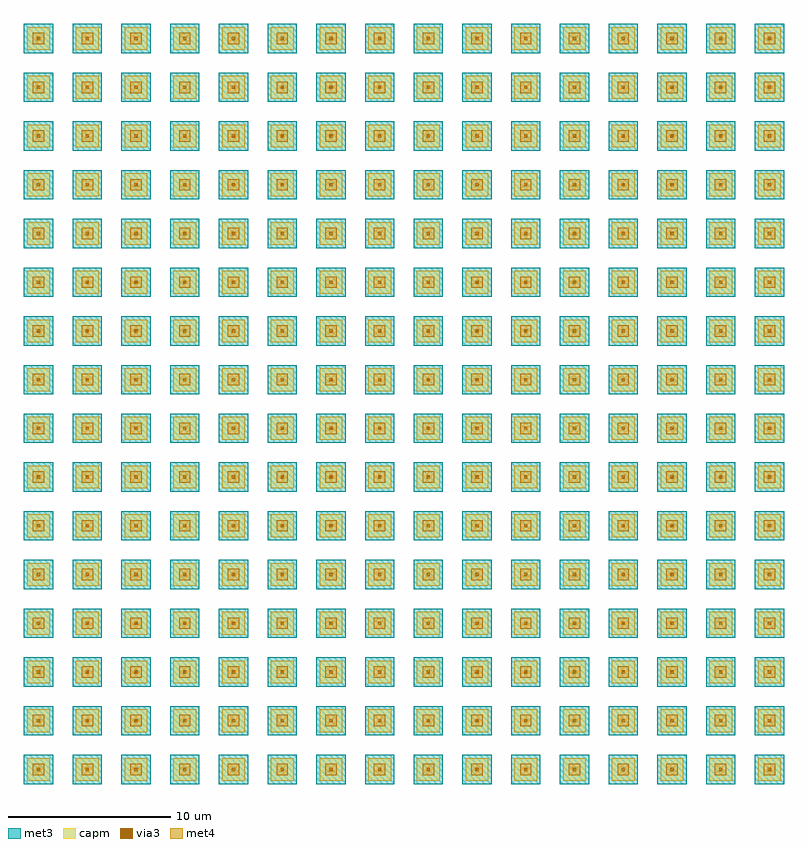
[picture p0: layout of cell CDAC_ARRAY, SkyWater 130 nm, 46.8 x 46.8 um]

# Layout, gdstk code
import gdstk
lib = gdstk.Library(unit=1e-6, precision=1e-09)
def R(c, l, rs):  # rectangles x0, y0, x1, y1
    for r in rs: c.add(gdstk.rectangle(r[:2], r[2:], *l))
met3 = (70, 20)
via3 = (70, 44)
met4 = (71, 20)
capm = (89, 44)

cdac_unit = lib.new_cell('CDAC_UNIT')
R(cdac_unit, met3, [(-0.9,-0.9,0.9,0.9)])
R(cdac_unit, via3, [(-0.1,-0.1,0.1,0.1)])
R(cdac_unit, met4, [(-0.35,-0.35,0.35,0.35)])
R(cdac_unit, capm, [(-0.7,-0.7,0.7,0.7)])

cdac_array = lib.new_cell('CDAC_ARRAY')
cdac_array.add(gdstk.Reference(cdac_unit, (0,0)))
cdac_array.add(gdstk.Reference(cdac_unit, (3,0)))
cdac_array.add(gdstk.Reference(cdac_unit, (6,0)))
cdac_array.add(gdstk.Reference(cdac_unit, (9,0)))
cdac_array.add(gdstk.Reference(cdac_unit, (12,0)))
cdac_array.add(gdstk.Reference(cdac_unit, (15,0)))
cdac_array.add(gdstk.Reference(cdac_unit, (18,0)))
cdac_array.add(gdstk.Reference(cdac_unit, (21,0)))
cdac_array.add(gdstk.Reference(cdac_unit, (24,0)))
cdac_array.add(gdstk.Reference(cdac_unit, (27,0)))
cdac_array.add(gdstk.Reference(cdac_unit, (30,0)))
cdac_array.add(gdstk.Reference(cdac_unit, (33,0)))
cdac_array.add(gdstk.Reference(cdac_unit, (36,0)))
cdac_array.add(gdstk.Reference(cdac_unit, (39,0)))
cdac_array.add(gdstk.Reference(cdac_unit, (42,0)))
cdac_array.add(gdstk.Reference(cdac_unit, (45,0)))
cdac_array.add(gdstk.Reference(cdac_unit, (0,3)))
cdac_array.add(gdstk.Reference(cdac_unit, (3,3)))
cdac_array.add(gdstk.Reference(cdac_unit, (6,3)))
cdac_array.add(gdstk.Reference(cdac_unit, (9,3)))
cdac_array.add(gdstk.Reference(cdac_unit, (12,3)))
cdac_array.add(gdstk.Reference(cdac_unit, (15,3)))
cdac_array.add(gdstk.Reference(cdac_unit, (18,3)))
cdac_array.add(gdstk.Reference(cdac_unit, (21,3)))
cdac_array.add(gdstk.Reference(cdac_unit, (24,3)))
cdac_array.add(gdstk.Reference(cdac_unit, (27,3)))
cdac_array.add(gdstk.Reference(cdac_unit, (30,3)))
cdac_array.add(gdstk.Reference(cdac_unit, (33,3)))
cdac_array.add(gdstk.Reference(cdac_unit, (36,3)))
cdac_array.add(gdstk.Reference(cdac_unit, (39,3)))
cdac_array.add(gdstk.Reference(cdac_unit, (42,3)))
cdac_array.add(gdstk.Reference(cdac_unit, (45,3)))
cdac_array.add(gdstk.Reference(cdac_unit, (0,6)))
cdac_array.add(gdstk.Reference(cdac_unit, (3,6)))
cdac_array.add(gdstk.Reference(cdac_unit, (6,6)))
cdac_array.add(gdstk.Reference(cdac_unit, (9,6)))
cdac_array.add(gdstk.Reference(cdac_unit, (12,6)))
cdac_array.add(gdstk.Reference(cdac_unit, (15,6)))
cdac_array.add(gdstk.Reference(cdac_unit, (18,6)))
cdac_array.add(gdstk.Reference(cdac_unit, (21,6)))
cdac_array.add(gdstk.Reference(cdac_unit, (24,6)))
cdac_array.add(gdstk.Reference(cdac_unit, (27,6)))
cdac_array.add(gdstk.Reference(cdac_unit, (30,6)))
cdac_array.add(gdstk.Reference(cdac_unit, (33,6)))
cdac_array.add(gdstk.Reference(cdac_unit, (36,6)))
cdac_array.add(gdstk.Reference(cdac_unit, (39,6)))
cdac_array.add(gdstk.Reference(cdac_unit, (42,6)))
cdac_array.add(gdstk.Reference(cdac_unit, (45,6)))
cdac_array.add(gdstk.Reference(cdac_unit, (0,9)))
cdac_array.add(gdstk.Reference(cdac_unit, (3,9)))
cdac_array.add(gdstk.Reference(cdac_unit, (6,9)))
cdac_array.add(gdstk.Reference(cdac_unit, (9,9)))
cdac_array.add(gdstk.Reference(cdac_unit, (12,9)))
cdac_array.add(gdstk.Reference(cdac_unit, (15,9)))
cdac_array.add(gdstk.Reference(cdac_unit, (18,9)))
cdac_array.add(gdstk.Reference(cdac_unit, (21,9)))
cdac_array.add(gdstk.Reference(cdac_unit, (24,9)))
cdac_array.add(gdstk.Reference(cdac_unit, (27,9)))
cdac_array.add(gdstk.Reference(cdac_unit, (30,9)))
cdac_array.add(gdstk.Reference(cdac_unit, (33,9)))
cdac_array.add(gdstk.Reference(cdac_unit, (36,9)))
cdac_array.add(gdstk.Reference(cdac_unit, (39,9)))
cdac_array.add(gdstk.Reference(cdac_unit, (42,9)))
cdac_array.add(gdstk.Reference(cdac_unit, (45,9)))
cdac_array.add(gdstk.Reference(cdac_unit, (0,12)))
cdac_array.add(gdstk.Reference(cdac_unit, (3,12)))
cdac_array.add(gdstk.Reference(cdac_unit, (6,12)))
cdac_array.add(gdstk.Reference(cdac_unit, (9,12)))
cdac_array.add(gdstk.Reference(cdac_unit, (12,12)))
cdac_array.add(gdstk.Reference(cdac_unit, (15,12)))
cdac_array.add(gdstk.Reference(cdac_unit, (18,12)))
cdac_array.add(gdstk.Reference(cdac_unit, (21,12)))
cdac_array.add(gdstk.Reference(cdac_unit, (24,12)))
cdac_array.add(gdstk.Reference(cdac_unit, (27,12)))
cdac_array.add(gdstk.Reference(cdac_unit, (30,12)))
cdac_array.add(gdstk.Reference(cdac_unit, (33,12)))
cdac_array.add(gdstk.Reference(cdac_unit, (36,12)))
cdac_array.add(gdstk.Reference(cdac_unit, (39,12)))
cdac_array.add(gdstk.Reference(cdac_unit, (42,12)))
cdac_array.add(gdstk.Reference(cdac_unit, (45,12)))
cdac_array.add(gdstk.Reference(cdac_unit, (0,15)))
cdac_array.add(gdstk.Reference(cdac_unit, (3,15)))
cdac_array.add(gdstk.Reference(cdac_unit, (6,15)))
cdac_array.add(gdstk.Reference(cdac_unit, (9,15)))
cdac_array.add(gdstk.Reference(cdac_unit, (12,15)))
cdac_array.add(gdstk.Reference(cdac_unit, (15,15)))
cdac_array.add(gdstk.Reference(cdac_unit, (18,15)))
cdac_array.add(gdstk.Reference(cdac_unit, (21,15)))
cdac_array.add(gdstk.Reference(cdac_unit, (24,15)))
cdac_array.add(gdstk.Reference(cdac_unit, (27,15)))
cdac_array.add(gdstk.Reference(cdac_unit, (30,15)))
cdac_array.add(gdstk.Reference(cdac_unit, (33,15)))
cdac_array.add(gdstk.Reference(cdac_unit, (36,15)))
cdac_array.add(gdstk.Reference(cdac_unit, (39,15)))
cdac_array.add(gdstk.Reference(cdac_unit, (42,15)))
cdac_array.add(gdstk.Reference(cdac_unit, (45,15)))
cdac_array.add(gdstk.Reference(cdac_unit, (0,18)))
cdac_array.add(gdstk.Reference(cdac_unit, (3,18)))
cdac_array.add(gdstk.Reference(cdac_unit, (6,18)))
cdac_array.add(gdstk.Reference(cdac_unit, (9,18)))
cdac_array.add(gdstk.Reference(cdac_unit, (12,18)))
cdac_array.add(gdstk.Reference(cdac_unit, (15,18)))
cdac_array.add(gdstk.Reference(cdac_unit, (18,18)))
cdac_array.add(gdstk.Reference(cdac_unit, (21,18)))
cdac_array.add(gdstk.Reference(cdac_unit, (24,18)))
cdac_array.add(gdstk.Reference(cdac_unit, (27,18)))
cdac_array.add(gdstk.Reference(cdac_unit, (30,18)))
cdac_array.add(gdstk.Reference(cdac_unit, (33,18)))
cdac_array.add(gdstk.Reference(cdac_unit, (36,18)))
cdac_array.add(gdstk.Reference(cdac_unit, (39,18)))
cdac_array.add(gdstk.Reference(cdac_unit, (42,18)))
cdac_array.add(gdstk.Reference(cdac_unit, (45,18)))
cdac_array.add(gdstk.Reference(cdac_unit, (0,21)))
cdac_array.add(gdstk.Reference(cdac_unit, (3,21)))
cdac_array.add(gdstk.Reference(cdac_unit, (6,21)))
cdac_array.add(gdstk.Reference(cdac_unit, (9,21)))
cdac_array.add(gdstk.Reference(cdac_unit, (12,21)))
cdac_array.add(gdstk.Reference(cdac_unit, (15,21)))
cdac_array.add(gdstk.Reference(cdac_unit, (18,21)))
cdac_array.add(gdstk.Reference(cdac_unit, (21,21)))
cdac_array.add(gdstk.Reference(cdac_unit, (24,21)))
cdac_array.add(gdstk.Reference(cdac_unit, (27,21)))
cdac_array.add(gdstk.Reference(cdac_unit, (30,21)))
cdac_array.add(gdstk.Reference(cdac_unit, (33,21)))
cdac_array.add(gdstk.Reference(cdac_unit, (36,21)))
cdac_array.add(gdstk.Reference(cdac_unit, (39,21)))
cdac_array.add(gdstk.Reference(cdac_unit, (42,21)))
cdac_array.add(gdstk.Reference(cdac_unit, (45,21)))
cdac_array.add(gdstk.Reference(cdac_unit, (0,24)))
cdac_array.add(gdstk.Reference(cdac_unit, (3,24)))
cdac_array.add(gdstk.Reference(cdac_unit, (6,24)))
cdac_array.add(gdstk.Reference(cdac_unit, (9,24)))
cdac_array.add(gdstk.Reference(cdac_unit, (12,24)))
cdac_array.add(gdstk.Reference(cdac_unit, (15,24)))
cdac_array.add(gdstk.Reference(cdac_unit, (18,24)))
cdac_array.add(gdstk.Reference(cdac_unit, (21,24)))
cdac_array.add(gdstk.Reference(cdac_unit, (24,24)))
cdac_array.add(gdstk.Reference(cdac_unit, (27,24)))
cdac_array.add(gdstk.Reference(cdac_unit, (30,24)))
cdac_array.add(gdstk.Reference(cdac_unit, (33,24)))
cdac_array.add(gdstk.Reference(cdac_unit, (36,24)))
cdac_array.add(gdstk.Reference(cdac_unit, (39,24)))
cdac_array.add(gdstk.Reference(cdac_unit, (42,24)))
cdac_array.add(gdstk.Reference(cdac_unit, (45,24)))
cdac_array.add(gdstk.Reference(cdac_unit, (0,27)))
cdac_array.add(gdstk.Reference(cdac_unit, (3,27)))
cdac_array.add(gdstk.Reference(cdac_unit, (6,27)))
cdac_array.add(gdstk.Reference(cdac_unit, (9,27)))
cdac_array.add(gdstk.Reference(cdac_unit, (12,27)))
cdac_array.add(gdstk.Reference(cdac_unit, (15,27)))
cdac_array.add(gdstk.Reference(cdac_unit, (18,27)))
cdac_array.add(gdstk.Reference(cdac_unit, (21,27)))
cdac_array.add(gdstk.Reference(cdac_unit, (24,27)))
cdac_array.add(gdstk.Reference(cdac_unit, (27,27)))
cdac_array.add(gdstk.Reference(cdac_unit, (30,27)))
cdac_array.add(gdstk.Reference(cdac_unit, (33,27)))
cdac_array.add(gdstk.Reference(cdac_unit, (36,27)))
cdac_array.add(gdstk.Reference(cdac_unit, (39,27)))
cdac_array.add(gdstk.Reference(cdac_unit, (42,27)))
cdac_array.add(gdstk.Reference(cdac_unit, (45,27)))
cdac_array.add(gdstk.Reference(cdac_unit, (0,30)))
cdac_array.add(gdstk.Reference(cdac_unit, (3,30)))
cdac_array.add(gdstk.Reference(cdac_unit, (6,30)))
cdac_array.add(gdstk.Reference(cdac_unit, (9,30)))
cdac_array.add(gdstk.Reference(cdac_unit, (12,30)))
cdac_array.add(gdstk.Reference(cdac_unit, (15,30)))
cdac_array.add(gdstk.Reference(cdac_unit, (18,30)))
cdac_array.add(gdstk.Reference(cdac_unit, (21,30)))
cdac_array.add(gdstk.Reference(cdac_unit, (24,30)))
cdac_array.add(gdstk.Reference(cdac_unit, (27,30)))
cdac_array.add(gdstk.Reference(cdac_unit, (30,30)))
cdac_array.add(gdstk.Reference(cdac_unit, (33,30)))
cdac_array.add(gdstk.Reference(cdac_unit, (36,30)))
cdac_array.add(gdstk.Reference(cdac_unit, (39,30)))
cdac_array.add(gdstk.Reference(cdac_unit, (42,30)))
cdac_array.add(gdstk.Reference(cdac_unit, (45,30)))
cdac_array.add(gdstk.Reference(cdac_unit, (0,33)))
cdac_array.add(gdstk.Reference(cdac_unit, (3,33)))
cdac_array.add(gdstk.Reference(cdac_unit, (6,33)))
cdac_array.add(gdstk.Reference(cdac_unit, (9,33)))
cdac_array.add(gdstk.Reference(cdac_unit, (12,33)))
cdac_array.add(gdstk.Reference(cdac_unit, (15,33)))
cdac_array.add(gdstk.Reference(cdac_unit, (18,33)))
cdac_array.add(gdstk.Reference(cdac_unit, (21,33)))
cdac_array.add(gdstk.Reference(cdac_unit, (24,33)))
cdac_array.add(gdstk.Reference(cdac_unit, (27,33)))
cdac_array.add(gdstk.Reference(cdac_unit, (30,33)))
cdac_array.add(gdstk.Reference(cdac_unit, (33,33)))
cdac_array.add(gdstk.Reference(cdac_unit, (36,33)))
cdac_array.add(gdstk.Reference(cdac_unit, (39,33)))
cdac_array.add(gdstk.Reference(cdac_unit, (42,33)))
cdac_array.add(gdstk.Reference(cdac_unit, (45,33)))
cdac_array.add(gdstk.Reference(cdac_unit, (0,36)))
cdac_array.add(gdstk.Reference(cdac_unit, (3,36)))
cdac_array.add(gdstk.Reference(cdac_unit, (6,36)))
cdac_array.add(gdstk.Reference(cdac_unit, (9,36)))
cdac_array.add(gdstk.Reference(cdac_unit, (12,36)))
cdac_array.add(gdstk.Reference(cdac_unit, (15,36)))
cdac_array.add(gdstk.Reference(cdac_unit, (18,36)))
cdac_array.add(gdstk.Reference(cdac_unit, (21,36)))
cdac_array.add(gdstk.Reference(cdac_unit, (24,36)))
cdac_array.add(gdstk.Reference(cdac_unit, (27,36)))
cdac_array.add(gdstk.Reference(cdac_unit, (30,36)))
cdac_array.add(gdstk.Reference(cdac_unit, (33,36)))
cdac_array.add(gdstk.Reference(cdac_unit, (36,36)))
cdac_array.add(gdstk.Reference(cdac_unit, (39,36)))
cdac_array.add(gdstk.Reference(cdac_unit, (42,36)))
cdac_array.add(gdstk.Reference(cdac_unit, (45,36)))
cdac_array.add(gdstk.Reference(cdac_unit, (0,39)))
cdac_array.add(gdstk.Reference(cdac_unit, (3,39)))
cdac_array.add(gdstk.Reference(cdac_unit, (6,39)))
cdac_array.add(gdstk.Reference(cdac_unit, (9,39)))
cdac_array.add(gdstk.Reference(cdac_unit, (12,39)))
cdac_array.add(gdstk.Reference(cdac_unit, (15,39)))
cdac_array.add(gdstk.Reference(cdac_unit, (18,39)))
cdac_array.add(gdstk.Reference(cdac_unit, (21,39)))
cdac_array.add(gdstk.Reference(cdac_unit, (24,39)))
cdac_array.add(gdstk.Reference(cdac_unit, (27,39)))
cdac_array.add(gdstk.Reference(cdac_unit, (30,39)))
cdac_array.add(gdstk.Reference(cdac_unit, (33,39)))
cdac_array.add(gdstk.Reference(cdac_unit, (36,39)))
cdac_array.add(gdstk.Reference(cdac_unit, (39,39)))
cdac_array.add(gdstk.Reference(cdac_unit, (42,39)))
cdac_array.add(gdstk.Reference(cdac_unit, (45,39)))
cdac_array.add(gdstk.Reference(cdac_unit, (0,42)))
cdac_array.add(gdstk.Reference(cdac_unit, (3,42)))
cdac_array.add(gdstk.Reference(cdac_unit, (6,42)))
cdac_array.add(gdstk.Reference(cdac_unit, (9,42)))
cdac_array.add(gdstk.Reference(cdac_unit, (12,42)))
cdac_array.add(gdstk.Reference(cdac_unit, (15,42)))
cdac_array.add(gdstk.Reference(cdac_unit, (18,42)))
cdac_array.add(gdstk.Reference(cdac_unit, (21,42)))
cdac_array.add(gdstk.Reference(cdac_unit, (24,42)))
cdac_array.add(gdstk.Reference(cdac_unit, (27,42)))
cdac_array.add(gdstk.Reference(cdac_unit, (30,42)))
cdac_array.add(gdstk.Reference(cdac_unit, (33,42)))
cdac_array.add(gdstk.Reference(cdac_unit, (36,42)))
cdac_array.add(gdstk.Reference(cdac_unit, (39,42)))
cdac_array.add(gdstk.Reference(cdac_unit, (42,42)))
cdac_array.add(gdstk.Reference(cdac_unit, (45,42)))
cdac_array.add(gdstk.Reference(cdac_unit, (0,45)))
cdac_array.add(gdstk.Reference(cdac_unit, (3,45)))
cdac_array.add(gdstk.Reference(cdac_unit, (6,45)))
cdac_array.add(gdstk.Reference(cdac_unit, (9,45)))
cdac_array.add(gdstk.Reference(cdac_unit, (12,45)))
cdac_array.add(gdstk.Reference(cdac_unit, (15,45)))
cdac_array.add(gdstk.Reference(cdac_unit, (18,45)))
cdac_array.add(gdstk.Reference(cdac_unit, (21,45)))
cdac_array.add(gdstk.Reference(cdac_unit, (24,45)))
cdac_array.add(gdstk.Reference(cdac_unit, (27,45)))
cdac_array.add(gdstk.Reference(cdac_unit, (30,45)))
cdac_array.add(gdstk.Reference(cdac_unit, (33,45)))
cdac_array.add(gdstk.Reference(cdac_unit, (36,45)))
cdac_array.add(gdstk.Reference(cdac_unit, (39,45)))
cdac_array.add(gdstk.Reference(cdac_unit, (42,45)))
cdac_array.add(gdstk.Reference(cdac_unit, (45,45)))

lib.write_gds('CDAC_ARRAY.gds')
